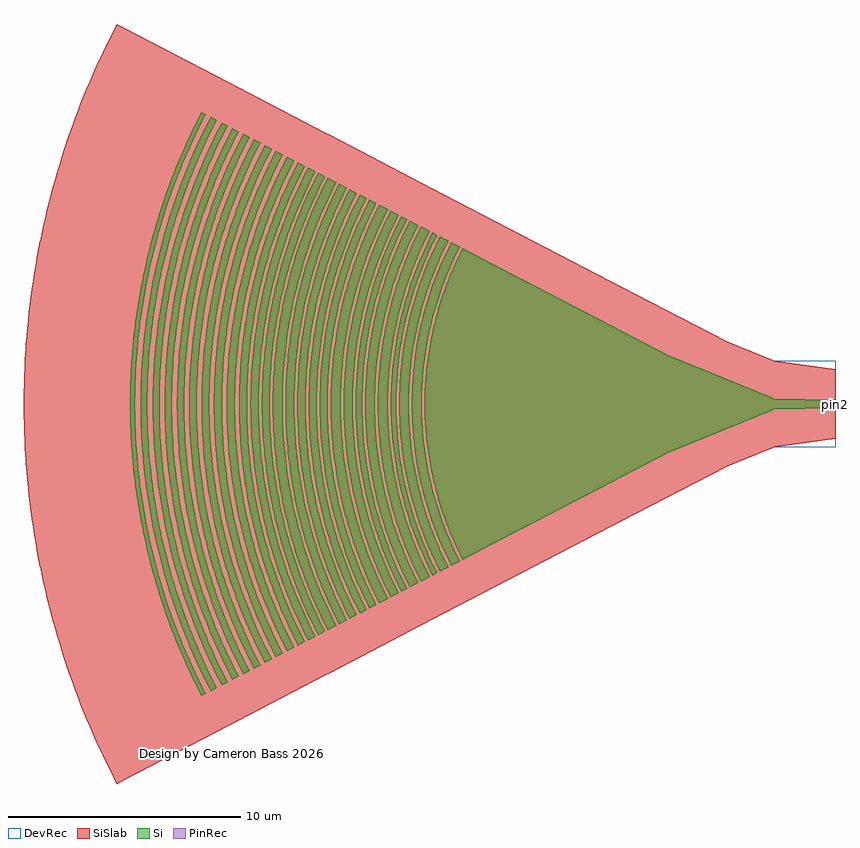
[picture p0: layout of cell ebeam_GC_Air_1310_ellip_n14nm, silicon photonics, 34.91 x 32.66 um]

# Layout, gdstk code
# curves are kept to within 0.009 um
import gdstk
lib = gdstk.Library(unit=1e-6, precision=1e-09)
def P(c, l, *ps):  # polygons
    for p in ps: c.add(gdstk.Polygon(p, *l))
Si = (1, 0)
PinRec = (1, 10)
SiSlab = (2, 0)
DevRec = (68, 0)

ebeam_gc_air_1310_ellip_ = lib.new_cell('ebeam_GC_Air_1310_ellip_n14nm')
P(ebeam_gc_air_1310_ellip_, Si, [(-16.042,-6.698),(-16.454,-5.834),(-16.771,-5.048),(-17,-4.38),(-17.264,-3.428),(-17.44,-2.598),(-17.567,-1.761),(-17.645,-0.917),(-17.673,-0.071),(-17.645,0.917),(-17.567,1.761),(-17.44,2.599),(-17.264,3.428),(-17,4.38),(-16.771,5.048),(-16.454,5.834),(-16.042,6.698),(-7.157,2.07),(-3.19,0.451),(-2.897,0.343),(-2.697,0.249),(-2.651,0.236),(0,0.175),(0,-0.175),(-2.664,-0.238),(-7.129,-2.057)],
  [(-16.534,-6.953),(-16.9,-6.193),(-17.237,-5.38),(-17.526,-4.549),(-17.765,-3.703),(-17.956,-2.843),(-18.096,-1.974),(-18.195,-0.953),(-18.225,-0.073),(-18.204,0.806),(-18.114,1.829),(-17.983,2.699),(-17.8,3.56),(-17.692,3.986),(-17.526,4.549),(-17.237,5.38),(-16.9,6.193),(-16.534,6.954),(-16.155,6.756),(-16.514,6.016),(-16.891,5.093),(-17.163,4.283),(-17.389,3.458),(-17.566,2.623),(-17.694,1.777),(-17.781,0.784),(-17.801,0.071),(-17.781,-0.784),(-17.694,-1.777),(-17.566,-2.621),(-17.389,-3.458),(-17.163,-4.283),(-16.891,-5.093),(-16.514,-6.016),(-16.155,-6.756)],
  [(-17.015,-7.204),(-17.394,-6.417),(-17.743,-5.575),(-18.042,-4.714),(-18.29,-3.836),(-18.487,-2.946),(-18.632,-2.046),(-18.725,-1.139),(-18.752,-0.683),(-18.766,-0.076),(-18.744,0.835),(-18.669,1.744),(-18.612,2.197),(-18.515,2.796),(-18.326,3.689),(-18.173,4.277),(-18.042,4.714),(-17.743,5.575),(-17.394,6.417),(-17.015,7.204),(-16.646,7.012),(-16.894,6.515),(-17.077,6.111),(-17.408,5.288),(-17.691,4.446),(-17.926,3.59),(-18.109,2.723),(-18.242,1.845),(-18.323,0.961),(-18.353,0.074),(-18.332,-0.813),(-18.242,-1.845),(-18.109,-2.722),(-17.926,-3.59),(-17.691,-4.446),(-17.408,-5.288),(-17.077,-6.111),(-16.894,-6.515),(-16.646,-7.012)],
  [(-17.335,-7.371),(-17.723,-6.565),(-18.08,-5.704),(-18.386,-4.823),(-18.64,-3.925),(-18.842,-3.014),(-18.923,-2.555),(-19.01,-1.939),(-19.096,-1.01),(-19.127,-0.078),(-19.105,0.855),(-19.01,1.939),(-18.87,2.862),(-18.677,3.775),(-18.432,4.674),(-18.135,5.558),(-17.967,5.994),(-17.723,6.566),(-17.335,7.371),(-17.128,7.262),(-17.573,6.33),(-17.968,5.334),(-18.117,4.898),(-18.295,4.312),(-18.521,3.421),(-18.668,2.669),(-18.779,1.911),(-18.863,0.996),(-18.894,0.077),(-18.872,-0.843),(-18.813,-1.606),(-18.717,-2.366),(-18.553,-3.271),(-18.337,-4.164),(-18.117,-4.898),(-17.968,-5.333),(-17.573,-6.33),(-17.128,-7.262)],
  [(-17.831,-7.629),(-18.297,-6.648),(-18.658,-5.753),(-18.966,-4.838),(-19.219,-3.907),(-19.419,-2.961),(-19.563,-2.007),(-19.652,-1.045),(-19.685,-0.08),(-19.661,0.885),(-19.582,1.847),(-19.447,2.804),(-19.326,3.436),(-19.219,3.907),(-18.966,4.838),(-18.658,5.753),(-18.484,6.204),(-18.232,6.796),(-17.831,7.629),(-17.448,7.429),(-17.642,7.045),(-17.904,6.476),(-18.199,5.75),(-18.508,4.861),(-18.765,3.957),(-18.997,2.885),(-19.137,1.955),(-19.201,1.331),(-19.233,0.862),(-19.255,0.078),(-19.233,-0.862),(-19.201,-1.331),(-19.137,-1.955),(-18.997,-2.885),(-18.802,-3.804),(-18.554,-4.712),(-18.254,-5.603),(-17.904,-6.476),(-17.642,-7.045),(-17.448,-7.429)],
  [(-18.311,-7.879),(-18.587,-7.32),(-18.793,-6.865),(-19.165,-5.941),(-19.484,-4.996),(-19.745,-4.034),(-19.951,-3.058),(-20.101,-2.072),(-20.192,-1.08),(-20.226,-0.083),(-20.202,0.914),(-20.12,1.907),(-19.98,2.895),(-19.784,3.873),(-19.622,4.517),(-19.484,4.996),(-19.165,5.941),(-18.793,6.866),(-18.587,7.32),(-18.311,7.879),(-17.945,7.688),(-18.351,6.849),(-18.543,6.402),(-18.779,5.798),(-19.089,4.876),(-19.346,3.937),(-19.547,2.985),(-19.692,2.023),(-19.782,1.054),(-19.815,0.081),(-19.791,-0.892),(-19.711,-1.862),(-19.627,-2.505),(-19.547,-2.985),(-19.346,-3.936),(-19.089,-4.875),(-18.779,-5.798),(-18.351,-6.849),(-17.945,-7.688)],
  [(-18.673,-8.067),(-19.098,-7.184),(-19.489,-6.241),(-19.824,-5.277),(-20.016,-4.624),(-20.142,-4.13),(-20.353,-3.131),(-20.506,-2.121),(-20.6,-1.105),(-20.634,-0.085),(-20.61,0.935),(-20.526,1.953),(-20.383,2.964),(-20.255,3.632),(-20.142,4.13),(-20.016,4.624),(-19.824,5.277),(-19.489,6.241),(-19.098,7.184),(-18.673,8.067),(-18.424,7.938),(-18.632,7.526),(-18.911,6.918),(-19.167,6.299),(-19.343,5.829),(-19.506,5.353),(-19.7,4.713),(-19.831,4.227),(-19.982,3.575),(-20.161,2.586),(-20.266,1.755),(-20.331,0.921),(-20.355,0.084),(-20.331,-0.921),(-20.266,-1.755),(-20.161,-2.586),(-20.016,-3.411),(-19.91,-3.901),(-19.746,-4.551),(-19.557,-5.193),(-19.399,-5.671),(-19.167,-6.298),(-18.978,-6.763),(-18.704,-7.375),(-18.424,-7.937)],
  [(-19.131,-8.306),(-19.569,-7.397),(-19.844,-6.752),(-20.033,-6.262),(-20.368,-5.266),(-20.644,-4.252),(-20.861,-3.223),(-21.019,-2.184),(-21.115,-1.138),(-21.151,-0.088),(-21.141,0.613),(-21.115,1.138),(-21.019,2.184),(-20.861,3.224),(-20.644,4.252),(-20.368,5.266),(-20.033,6.262),(-19.64,7.237),(-19.423,7.715),(-19.131,8.306),(-18.787,8.126),(-19.217,7.238),(-19.485,6.606),(-19.669,6.127),(-19.997,5.152),(-20.269,4.16),(-20.481,3.155),(-20.635,2.138),(-20.729,1.114),(-20.764,0.086),(-20.739,-0.943),(-20.655,-1.968),(-20.511,-2.985),(-20.417,-3.491),(-20.269,-4.16),(-19.997,-5.152),(-19.669,-6.127),(-19.286,-7.081),(-19.074,-7.549),(-18.787,-8.126)],
  [(-19.63,-8.566),(-20.08,-7.63),(-20.495,-6.629),(-20.85,-5.605),(-21.145,-4.562),(-21.379,-3.503),(-21.552,-2.433),(-21.662,-1.354),(-21.693,-0.813),(-21.711,-0.09),(-21.685,0.993),(-21.595,2.074),(-21.444,3.148),(-21.308,3.857),(-21.188,4.387),(-20.904,5.432),(-20.68,6.119),(-20.495,6.629),(-20.08,7.63),(-19.63,8.566),(-19.245,8.365),(-19.687,7.45),(-20.092,6.472),(-20.272,5.975),(-20.491,5.304),(-20.728,4.453),(-20.956,3.421),(-21.125,2.376),(-21.203,1.674),(-21.244,1.146),(-21.28,0.088),(-21.275,-0.441),(-21.244,-1.146),(-21.147,-2.2),(-20.989,-3.247),(-20.77,-4.282),(-20.491,-5.303),(-20.272,-5.975),(-20.092,-6.472),(-19.687,-7.45),(-19.245,-8.365)],
  [(-20.045,-8.782),(-20.353,-8.157),(-20.583,-7.65),(-20.998,-6.62),(-21.352,-5.567),(-21.644,-4.496),(-21.874,-3.408),(-22.04,-2.309),(-22.142,-1.203),(-22.18,-0.093),(-22.153,1.018),(-22.062,2.125),(-21.992,2.677),(-21.874,3.408),(-21.644,4.496),(-21.352,5.567),(-20.998,6.62),(-20.583,7.651),(-20.353,8.157),(-20.045,8.782),(-19.747,8.626),(-19.972,8.178),(-20.276,7.518),(-20.554,6.845),(-20.745,6.334),(-20.977,5.644),(-21.183,4.946),(-21.439,3.885),(-21.605,2.99),(-21.728,2.089),(-21.818,1.001),(-21.844,0.091),(-21.834,-0.637),(-21.765,-1.726),(-21.66,-2.63),(-21.476,-3.706),(-21.36,-4.239),(-21.183,-4.946),(-20.977,-5.643),(-20.745,-6.334),(-20.554,-6.844),(-20.276,-7.517),(-19.972,-8.178),(-19.747,-8.626)],
  [(-20.465,-9),(-20.941,-8.013),(-21.377,-6.961),(-21.75,-5.886),(-21.914,-5.34),(-22.06,-4.79),(-22.191,-4.236),(-22.341,-3.492),(-22.511,-2.366),(-22.616,-1.233),(-22.655,-0.095),(-22.627,1.043),(-22.533,2.178),(-22.374,3.306),(-22.27,3.865),(-22.105,4.607),(-21.806,5.705),(-21.633,6.246),(-21.377,6.961),(-20.941,8.013),(-20.465,9),(-20.159,8.841),(-20.471,8.212),(-20.776,7.531),(-21.054,6.84),(-21.245,6.314),(-21.475,5.605),(-21.68,4.888),(-21.932,3.798),(-22.093,2.879),(-22.21,1.954),(-22.282,1.025),(-22.309,0.093),(-22.291,-0.839),(-22.228,-1.769),(-22.12,-2.695),(-21.932,-3.798),(-21.814,-4.344),(-21.631,-5.068),(-21.42,-5.783),(-21.245,-6.314),(-20.987,-7.013),(-20.776,-7.531),(-20.471,-8.212),(-20.159,-8.841)],
  [(-20.9,-9.227),(-21.389,-8.211),(-21.835,-7.134),(-22.218,-6.032),(-22.386,-5.473),(-22.536,-4.909),(-22.67,-4.341),(-22.824,-3.578),(-22.999,-2.425),(-23.106,-1.263),(-23.145,-0.097),(-23.14,0.487),(-23.106,1.263),(-22.999,2.425),(-22.824,3.579),(-22.582,4.721),(-22.276,5.846),(-21.904,6.952),(-21.468,8.034),(-21.226,8.565),(-20.9,9.227),(-20.583,9.061),(-20.905,8.413),(-21.217,7.716),(-21.502,7.007),(-21.698,6.469),(-21.878,5.924),(-22.094,5.192),(-22.237,4.636),(-22.402,3.891),(-22.567,2.95),(-22.687,2.002),(-22.761,1.051),(-22.789,0.096),(-22.77,-0.86),(-22.706,-1.812),(-22.595,-2.761),(-22.402,-3.891),(-22.237,-4.636),(-22.094,-5.192),(-21.878,-5.924),(-21.698,-6.469),(-21.502,-7.007),(-21.217,-7.716),(-20.905,-8.413),(-20.583,-9.061)],
  [(-21.351,-9.462),(-21.686,-8.784),(-21.933,-8.238),(-22.165,-7.687),(-22.38,-7.129),(-22.762,-5.995),(-22.928,-5.42),(-23.076,-4.841),(-23.324,-3.67),(-23.503,-2.487),(-23.613,-1.295),(-23.653,-0.1),(-23.648,0.499),(-23.613,1.296),(-23.503,2.487),(-23.324,3.67),(-23.076,4.841),(-22.928,5.42),(-22.762,5.995),(-22.38,7.129),(-22.165,7.688),(-21.933,8.239),(-21.686,8.784),(-21.351,9.462),(-21.013,9.285),(-21.259,8.797),(-21.586,8.086),(-21.813,7.544),(-22.091,6.813),(-22.341,6.07),(-22.509,5.508),(-22.708,4.75),(-22.878,3.987),(-23.047,3.023),(-23.17,2.051),(-23.246,1.076),(-23.274,0.098),(-23.255,-0.881),(-23.189,-1.857),(-23.076,-2.829),(-22.878,-3.986),(-22.708,-4.75),(-22.562,-5.32),(-22.341,-6.07),(-22.091,-6.813),(-21.813,-7.544),(-21.586,-8.086),(-21.259,-8.796),(-21.013,-9.285)],
  [(-21.839,-9.715),(-22.181,-9.021),(-22.435,-8.461),(-22.673,-7.895),(-22.894,-7.321),(-23.099,-6.742),(-23.286,-6.157),(-23.457,-5.566),(-23.609,-4.972),(-23.745,-4.372),(-23.863,-3.769),(-23.964,-3.163),(-24.047,-2.554),(-24.16,-1.33),(-24.19,-0.716),(-24.201,-0.102),(-24.172,1.126),(-24.071,2.351),(-23.964,3.163),(-23.863,3.769),(-23.745,4.372),(-23.609,4.972),(-23.457,5.567),(-23.286,6.157),(-23.099,6.742),(-22.894,7.322),(-22.673,7.895),(-22.435,8.461),(-22.181,9.021),(-21.839,9.716),(-21.464,9.52),(-21.803,8.839),(-22.051,8.291),(-22.501,7.174),(-22.884,6.033),(-23.052,5.455),(-23.202,4.871),(-23.451,3.694),(-23.631,2.503),(-23.695,1.904),(-23.741,1.304),(-23.782,0.1),(-23.763,-0.903),(-23.695,-1.904),(-23.578,-2.901),(-23.414,-3.891),(-23.293,-4.48),(-23.104,-5.261),(-22.884,-6.033),(-22.636,-6.796),(-22.358,-7.549),(-22.131,-8.106),(-21.803,-8.839),(-21.464,-9.52)],
  [(-22.253,-9.931),(-22.778,-8.839),(-23.027,-8.263),(-23.259,-7.679),(-23.473,-7.089),(-23.733,-6.293),(-23.907,-5.689),(-24.063,-5.082),(-24.322,-3.852),(-24.425,-3.233),(-24.51,-2.61),(-24.577,-1.986),(-24.626,-1.36),(-24.668,-0.105),(-24.662,0.524),(-24.638,1.151),(-24.535,2.402),(-24.456,3.026),(-24.359,3.647),(-24.244,4.264),(-24.063,5.082),(-23.733,6.293),(-23.541,6.891),(-23.259,7.679),(-23.027,8.264),(-22.778,8.84),(-22.253,9.931),(-21.952,9.774),(-22.298,9.076),(-22.553,8.514),(-22.868,7.752),(-23.085,7.173),(-23.285,6.588),(-23.524,5.8),(-23.685,5.202),(-23.871,4.399),(-24.059,3.386),(-24.198,2.366),(-24.288,1.339),(-24.318,0.722),(-24.33,0.103),(-24.3,-1.133),(-24.22,-2.16),(-24.091,-3.182),(-23.99,-3.792),(-23.871,-4.399),(-23.685,-5.202),(-23.524,-5.799),(-23.285,-6.587),(-23.085,-7.173),(-22.792,-7.943),(-22.553,-8.513),(-22.298,-9.076),(-21.952,-9.774)],
  [(-22.687,-10.157),(-23.226,-9.038),(-23.481,-8.449),(-23.718,-7.852),(-24.139,-6.639),(-24.381,-5.817),(-24.54,-5.196),(-24.682,-4.569),(-24.805,-3.939),(-24.911,-3.306),(-24.998,-2.669),(-25.066,-2.031),(-25.116,-1.39),(-25.147,-0.749),(-25.159,-0.107),(-25.153,0.536),(-25.128,1.177),(-25.085,1.818),(-25.023,2.456),(-24.942,3.094),(-24.843,3.729),(-24.682,4.569),(-24.54,5.196),(-24.381,5.817),(-24.202,6.435),(-24.006,7.047),(-23.793,7.652),(-23.562,8.251),(-23.313,8.843),(-23.047,9.428),(-22.687,10.157),(-22.369,9.991),(-22.724,9.276),(-22.985,8.701),(-23.307,7.922),(-23.528,7.331),(-23.797,6.532),(-24.035,5.724),(-24.332,4.496),(-24.524,3.461),(-24.667,2.418),(-24.758,1.368),(-24.789,0.738),(-24.801,0.105),(-24.781,-0.948),(-24.744,-1.578),(-24.689,-2.207),(-24.557,-3.252),(-24.332,-4.496),(-24.035,-5.724),(-23.797,-6.532),(-23.528,-7.331),(-23.307,-7.922),(-22.985,-8.701),(-22.724,-9.276),(-22.369,-9.991)],
  [(-23.119,-10.382),(-23.491,-9.631),(-23.762,-9.033),(-24.016,-8.429),(-24.253,-7.816),(-24.471,-7.197),(-24.671,-6.573),(-24.853,-5.943),(-25.016,-5.308),(-25.161,-4.668),(-25.288,-4.024),(-25.395,-3.377),(-25.484,-2.727),(-25.554,-2.075),(-25.605,-1.42),(-25.637,-0.765),(-25.649,-0.109),(-25.643,0.547),(-25.618,1.202),(-25.573,1.857),(-25.51,2.509),(-25.427,3.161),(-25.288,4.025),(-25.161,4.668),(-25.016,5.308),(-24.795,6.154),(-24.671,6.573),(-24.471,7.198),(-24.253,7.817),(-24.016,8.429),(-23.762,9.033),(-23.491,9.631),(-23.119,10.382),(-22.817,10.225),(-23.089,9.683),(-23.449,8.9),(-23.779,8.104),(-24.005,7.499),(-24.28,6.682),(-24.524,5.856),(-24.685,5.229),(-24.828,4.599),(-25.025,3.54),(-25.118,2.901),(-25.193,2.258),(-25.276,1.185),(-25.308,0.108),(-25.287,-0.97),(-25.193,-2.258),(-25.118,-2.9),(-25.025,-3.54),(-24.828,-4.599),(-24.685,-5.229),(-24.465,-6.063),(-24.28,-6.682),(-24.005,-7.499),(-23.779,-8.104),(-23.449,-8.9),(-23.182,-9.488),(-22.817,-10.224)],
  [(-23.588,-10.627),(-24.159,-9.445),(-24.425,-8.829),(-24.673,-8.205),(-24.903,-7.574),(-25.114,-6.938),(-25.307,-6.294),(-25.48,-5.647),(-25.635,-4.993),(-25.77,-4.336),(-25.922,-3.454),(-26.013,-2.789),(-26.084,-2.122),(-26.136,-1.453),(-26.169,-0.782),(-26.182,-0.112),(-26.175,0.56),(-26.149,1.23),(-26.104,1.9),(-26.039,2.567),(-25.954,3.233),(-25.85,3.897),(-25.682,4.775),(-25.533,5.43),(-25.366,6.079),(-25.18,6.724),(-24.975,7.364),(-24.752,7.996),(-24.51,8.622),(-24.25,9.24),(-23.972,9.852),(-23.588,10.627),(-23.275,10.463),(-23.557,9.903),(-23.925,9.103),(-24.181,8.493),(-24.494,7.67),(-24.708,7.044),(-24.965,6.201),(-25.137,5.563),(-25.336,4.704),(-25.538,3.62),(-25.687,2.529),(-25.75,1.871),(-25.795,1.212),(-25.827,0.11),(-25.806,-0.992),(-25.768,-1.651),(-25.71,-2.309),(-25.572,-3.403),(-25.336,-4.704),(-25.137,-5.562),(-24.965,-6.201),(-24.708,-7.043),(-24.494,-7.669),(-24.181,-8.493),(-23.925,-9.103),(-23.557,-9.903),(-23.275,-10.463)],
  [(-24.071,-10.878),(-24.368,-10.285),(-24.658,-9.662),(-24.931,-9.032),(-25.185,-8.394),(-25.42,-7.749),(-25.704,-6.879),(-25.895,-6.219),(-26.065,-5.555),(-26.217,-4.885),(-26.35,-4.211),(-26.463,-3.534),(-26.556,-2.853),(-26.629,-2.171),(-26.682,-1.486),(-26.716,-0.8),(-26.729,-0.114),(-26.722,0.573),(-26.696,1.258),(-26.649,1.943),(-26.556,2.854),(-26.463,3.534),(-26.35,4.212),(-26.217,4.885),(-26.065,5.555),(-25.895,6.219),(-25.704,6.879),(-25.494,7.533),(-25.185,8.394),(-24.931,9.033),(-24.658,9.662),(-24.368,10.285),(-24.071,10.878),(-23.763,10.717),(-24.055,10.137),(-24.341,9.524),(-24.694,8.694),(-24.938,8.063),(-25.163,7.425),(-25.435,6.564),(-25.617,5.913),(-25.83,5.035),(-25.966,4.373),(-26.084,3.706),(-26.237,2.589),(-26.335,1.465),(-26.368,0.789),(-26.381,0.113),(-26.359,-1.015),(-26.319,-1.69),(-26.261,-2.364),(-26.119,-3.483),(-26.008,-4.151),(-25.877,-4.815),(-25.728,-5.474),(-25.559,-6.13),(-25.303,-6.995),(-25.015,-7.851),(-24.778,-8.484),(-24.432,-9.318),(-24.055,-10.137),(-23.763,-10.717)],
  [(-24.541,-11.123),(-24.847,-10.513),(-25.144,-9.876),(-25.423,-9.232),(-25.682,-8.58),(-25.923,-7.92),(-26.144,-7.255),(-26.408,-6.357),(-26.583,-5.678),(-26.738,-4.993),(-26.874,-4.304),(-26.989,-3.612),(-27.084,-2.917),(-27.159,-2.219),(-27.214,-1.519),(-27.248,-0.818),(-27.261,-0.117),(-27.248,0.818),(-27.214,1.52),(-27.159,2.22),(-27.084,2.917),(-26.989,3.612),(-26.874,4.304),(-26.738,4.993),(-26.583,5.678),(-26.345,6.582),(-26.144,7.255),(-25.923,7.92),(-25.682,8.58),(-25.423,9.233),(-25.144,9.876),(-24.847,10.513),(-24.541,11.123),(-24.244,10.968),(-24.646,10.161),(-24.933,9.531),(-25.286,8.678),(-25.529,8.03),(-25.824,7.155),(-26.022,6.493),(-26.203,5.823),(-26.411,4.925),(-26.623,3.791),(-26.779,2.648),(-26.88,1.499),(-26.913,0.808),(-26.926,0.115),(-26.92,-0.576),(-26.893,-1.269),(-26.803,-2.418),(-26.723,-3.106),(-26.623,-3.791),(-26.411,-4.925),(-26.203,-5.823),(-26.022,-6.492),(-25.824,-7.155),(-25.529,-8.03),(-25.286,-8.678),(-24.933,-9.531),(-24.646,-10.161),(-24.244,-10.968)],
  [(-25.014,-11.369),(-25.328,-10.743),(-25.632,-10.093),(-25.916,-9.435),(-26.182,-8.768),(-26.427,-8.094),(-26.653,-7.414),(-26.86,-6.726),(-27.045,-6.033),(-27.21,-5.336),(-27.356,-4.633),(-27.48,-3.928),(-27.585,-3.218),(-27.668,-2.506),(-27.731,-1.791),(-27.782,-0.836),(-27.796,-0.12),(-27.789,0.598),(-27.761,1.314),(-27.712,2.03),(-27.643,2.743),(-27.552,3.455),(-27.4,4.398),(-27.261,5.103),(-27.102,5.802),(-26.86,6.727),(-26.724,7.186),(-26.505,7.868),(-26.182,8.768),(-25.916,9.435),(-25.632,10.093),(-25.328,10.743),(-25.014,11.369),(-24.724,11.218),(-25.035,10.602),(-25.43,9.745),(-25.704,9.092),(-26.04,8.211),(-26.269,7.541),(-26.479,6.865),(-26.67,6.184),(-26.892,5.266),(-27.12,4.109),(-27.229,3.41),(-27.318,2.708),(-27.387,2.003),(-27.435,1.297),(-27.469,0.118),(-27.462,-0.589),(-27.435,-1.297),(-27.343,-2.472),(-27.195,-3.643),(-27.079,-4.342),(-26.942,-5.036),(-26.729,-5.954),(-26.544,-6.638),(-26.269,-7.541),(-26.04,-8.211),(-25.704,-9.092),(-25.43,-9.745),(-25.035,-10.602),(-24.724,-11.217)],
  [(-25.476,-11.609),(-25.797,-10.969),(-26.107,-10.305),(-26.397,-9.633),(-26.668,-8.952),(-26.919,-8.264),(-27.15,-7.57),(-27.361,-6.868),(-27.55,-6.161),(-27.771,-5.21),(-27.912,-4.491),(-28.033,-3.769),(-28.132,-3.043),(-28.21,-2.316),(-28.267,-1.585),(-28.302,-0.854),(-28.317,-0.122),(-28.302,0.855),(-28.267,1.585),(-28.21,2.316),(-28.132,3.043),(-28.033,3.769),(-27.912,4.492),(-27.771,5.21),(-27.608,5.924),(-27.361,6.868),(-27.223,7.336),(-26.999,8.033),(-26.754,8.724),(-26.49,9.407),(-26.206,10.082),(-25.797,10.969),(-25.476,11.609),(-25.198,11.464),(-25.621,10.616),(-25.92,9.958),(-26.29,9.067),(-26.544,8.39),(-26.852,7.476),(-27.059,6.784),(-27.248,6.084),(-27.415,5.381),(-27.561,4.673),(-27.687,3.961),(-27.85,2.767),(-27.92,2.047),(-27.969,1.326),(-28.004,0.121),(-27.981,-1.085),(-27.939,-1.806),(-27.876,-2.526),(-27.792,-3.245),(-27.687,-3.96),(-27.466,-5.145),(-27.306,-5.85),(-27.125,-6.551),(-26.852,-7.476),(-26.544,-8.39),(-26.29,-9.067),(-25.92,-9.958),(-25.621,-10.616),(-25.198,-11.464)],
  [(-25.941,-11.851),(-26.269,-11.197),(-26.586,-10.519),(-26.882,-9.834),(-27.159,-9.139),(-27.415,-8.436),(-27.651,-7.727),(-27.866,-7.011),(-28.059,-6.288),(-28.284,-5.318),(-28.429,-4.584),(-28.551,-3.847),(-28.653,-3.106),(-28.733,-2.364),(-28.791,-1.618),(-28.827,-0.871),(-28.841,-0.125),(-28.827,0.871),(-28.791,1.618),(-28.733,2.364),(-28.653,3.107),(-28.551,3.848),(-28.429,4.584),(-28.284,5.318),(-28.118,6.047),(-27.933,6.771),(-27.725,7.489),(-27.496,8.201),(-27.247,8.905),(-26.977,9.603),(-26.586,10.519),(-26.269,11.197),(-25.941,11.852),(-25.668,11.709),(-25.994,11.064),(-26.406,10.17),(-26.692,9.488),(-26.959,8.8),(-27.205,8.103),(-27.501,7.164),(-27.762,6.214),(-27.932,5.495),(-28.17,4.287),(-28.284,3.558),(-28.377,2.826),(-28.449,2.09),(-28.499,1.354),(-28.535,0.123),(-28.527,-0.615),(-28.499,-1.354),(-28.403,-2.58),(-28.248,-3.801),(-28.127,-4.529),(-27.985,-5.255),(-27.762,-6.213),(-27.57,-6.927),(-27.282,-7.869),(-27.043,-8.568),(-26.692,-9.488),(-26.406,-10.169),(-25.994,-11.063),(-25.668,-11.709)],
  [(-26.4,-12.09),(-26.735,-11.422),(-27.058,-10.731),(-27.36,-10.031),(-27.642,-9.322),(-27.904,-8.605),(-28.144,-7.882),(-28.363,-7.151),(-28.56,-6.416),(-28.736,-5.673),(-28.891,-4.926),(-29.024,-4.176),(-29.134,-3.421),(-29.223,-2.664),(-29.29,-1.904),(-29.344,-0.889),(-29.359,-0.127),(-29.351,0.636),(-29.322,1.397),(-29.27,2.158),(-29.196,2.917),(-29.1,3.673),(-28.938,4.676),(-28.79,5.425),(-28.621,6.169),(-28.432,6.907),(-28.22,7.64),(-27.986,8.366),(-27.732,9.084),(-27.457,9.796),(-27.058,10.731),(-26.735,11.422),(-26.4,12.09),(-26.137,11.953),(-26.47,11.294),(-26.789,10.611),(-27.088,9.918),(-27.455,8.983),(-27.706,8.272),(-28.009,7.313),(-28.212,6.587),(-28.449,5.61),(-28.602,4.872),(-28.733,4.129),(-28.903,2.885),(-29.013,1.633),(-29.049,0.879),(-29.064,0.126),(-29.056,-0.628),(-29.027,-1.382),(-28.93,-2.634),(-28.842,-3.383),(-28.733,-4.129),(-28.602,-4.872),(-28.449,-5.61),(-28.212,-6.587),(-28.009,-7.313),(-27.706,-8.271),(-27.455,-8.982),(-27.088,-9.918),(-26.789,-10.611),(-26.47,-11.293),(-26.137,-11.953)],
  [(-26.87,-12.335),(-27.317,-11.433),(-27.639,-10.724),(-27.941,-10.006),(-28.222,-9.279),(-28.481,-8.545),(-28.719,-7.804),(-28.935,-7.055),(-29.129,-6.301),(-29.301,-5.541),(-29.451,-4.777),(-29.579,-4.009),(-29.685,-3.237),(-29.767,-2.463),(-29.828,-1.686),(-29.866,-0.908),(-29.881,-0.13),(-29.866,0.908),(-29.828,1.686),(-29.767,2.463),(-29.685,3.237),(-29.579,4.009),(-29.451,4.778),(-29.301,5.542),(-29.129,6.301),(-28.866,7.305),(-28.719,7.804),(-28.481,8.546),(-28.222,9.28),(-27.941,10.006),(-27.639,10.724),(-27.317,11.433),(-26.87,12.336),(-26.604,12.197),(-27.055,11.292),(-27.374,10.592),(-27.767,9.644),(-28.037,8.924),(-28.286,8.196),(-28.514,7.461),(-28.722,6.721),(-28.963,5.724),(-29.211,4.465),(-29.33,3.706),(-29.427,2.943),(-29.501,2.177),(-29.553,1.41),(-29.591,0.128),(-29.566,-1.154),(-29.521,-1.921),(-29.454,-2.687),(-29.293,-3.959),(-29.166,-4.718),(-29.018,-5.473),(-28.786,-6.471),(-28.585,-7.215),(-28.365,-7.952),(-28.037,-8.924),(-27.767,-9.644),(-27.374,-10.592),(-27.055,-11.292),(-26.604,-12.196)],
  [(-27.268,-12.543),(-27.73,-11.61),(-28.058,-10.889),(-28.364,-10.161),(-28.649,-9.423),(-28.913,-8.676),(-29.154,-7.924),(-29.374,-7.164),(-29.57,-6.399),(-29.745,-5.627),(-29.898,-4.85),(-30.028,-4.071),(-30.135,-3.287),(-30.219,-2.501),(-30.275,-1.793),(-30.319,-0.922),(-30.334,-0.132),(-30.326,0.659),(-30.296,1.449),(-30.242,2.239),(-30.135,3.287),(-30.028,4.071),(-29.898,4.851),(-29.745,5.627),(-29.57,6.399),(-29.374,7.164),(-29.154,7.924),(-28.913,8.677),(-28.649,9.423),(-28.364,10.161),(-27.951,11.131),(-27.616,11.848),(-27.268,12.543),(-27.083,12.446),(-27.422,11.772),(-27.754,11.061),(-28.164,10.096),(-28.447,9.363),(-28.709,8.622),(-28.949,7.874),(-29.236,6.866),(-29.424,6.103),(-29.689,4.82),(-29.818,4.045),(-29.924,3.267),(-30.008,2.485),(-30.069,1.702),(-30.107,0.916),(-30.122,0.131),(-30.097,-1.179),(-30.051,-1.963),(-29.982,-2.745),(-29.891,-3.526),(-29.777,-4.304),(-29.641,-5.078),(-29.482,-5.847),(-29.301,-6.612),(-29.097,-7.371),(-28.871,-8.124),(-28.537,-9.117),(-28.261,-9.853),(-27.86,-10.821),(-27.535,-11.536),(-27.083,-12.446)])
P(ebeam_gc_air_1310_ellip_, SiSlab, [(-30.904,-16.329),(-31.366,-15.41),(-31.801,-14.477),(-32.208,-13.533),(-32.588,-12.577),(-32.94,-11.61),(-33.264,-10.634),(-33.559,-9.648),(-33.825,-8.655),(-34.062,-7.654),(-34.27,-6.647),(-34.449,-5.634),(-34.598,-4.616),(-34.717,-3.594),(-34.807,-2.569),(-34.867,-1.543),(-34.9,-0.171),(-34.89,0.857),(-34.85,1.885),(-34.781,2.912),(-34.681,3.935),(-34.552,4.956),(-34.393,5.972),(-34.135,7.319),(-33.907,8.322),(-33.651,9.318),(-33.365,10.307),(-33.051,11.286),(-32.709,12.256),(-32.338,13.216),(-31.94,14.164),(-31.366,15.41),(-30.904,16.329),(-4.744,2.708),(-2.65,1.855),(0,1.5),(0,-1.5),(-2.65,-1.855),(-4.728,-2.7)])
P(ebeam_gc_air_1310_ellip_, DevRec, [(-30.904,-16.329),(-31.366,-15.41),(-31.801,-14.477),(-32.208,-13.533),(-32.588,-12.577),(-32.94,-11.61),(-33.264,-10.634),(-33.559,-9.648),(-33.825,-8.655),(-34.062,-7.654),(-34.27,-6.647),(-34.449,-5.634),(-34.598,-4.616),(-34.717,-3.594),(-34.807,-2.569),(-34.867,-1.543),(-34.9,-0.171),(-34.89,0.857),(-34.85,1.885),(-34.781,2.912),(-34.681,3.935),(-34.552,4.956),(-34.393,5.972),(-34.135,7.319),(-33.907,8.322),(-33.651,9.318),(-33.365,10.307),(-33.051,11.286),(-32.709,12.256),(-32.338,13.216),(-31.94,14.164),(-31.366,15.41),(-30.904,16.329),(-4.744,2.708),(-2.65,1.855),(0,1.855),(0,-1.855),(-2.65,-1.855),(-4.728,-2.7)])
ebeam_gc_air_1310_ellip_.add(gdstk.FlexPath([(-0.01,0),(0.01,0)], 0.35, ends="flush", simple_path=True, layer=1, datatype=10))  # PinRec
ebeam_gc_air_1310_ellip_.add(gdstk.Label('pin2', (0,0), layer=1, texttype=10))
ebeam_gc_air_1310_ellip_.add(gdstk.Label('Design by Cameron Bass 2026', (-25.94,-15.02), layer=10, texttype=0))

lib.write_gds('ebeam_GC_Air_1310_ellip_n14nm.gds')
